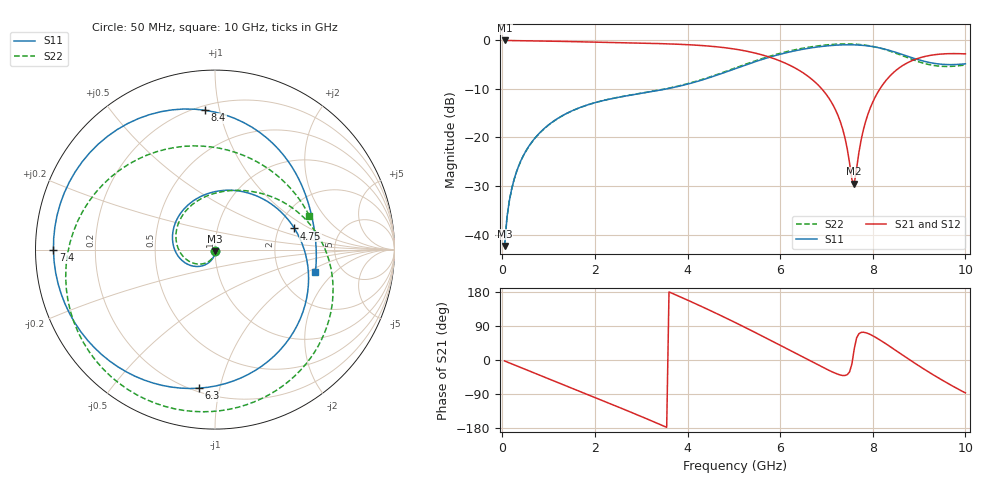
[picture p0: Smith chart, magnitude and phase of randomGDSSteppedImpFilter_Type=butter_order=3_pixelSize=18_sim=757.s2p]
! freq	dB(S11)	phase(S11)	dB(S12)	phase(S12)
!  dB(S21)	phase(S21)	dB(S22)	phase(S22)
!S-par simulation data
#  GHz  S  DB  R 50
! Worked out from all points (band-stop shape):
!   200 points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, 50 MHz to 10 GHz, reference 50 ohm
!   highest |S21| = -0.02 dB at 50 MHz (marker M1); lowest = -29.5 dB at 7.6 GHz (marker M2)
!   |S21| within 3 dB of the highest: start of sweep to 5.62 GHz; 9.29 GHz to end of sweep
!   lowest |S11| = -42.4 dB at 50 MHz (marker M3), VSWR 1.02, Z = 50.1 - j0.757 ohm
!   |S11| at or under -10 dB: start of sweep to 3.545 GHz
!   |S22| runs from -42.4 to -0.7 dB; largest |S21 - S12| = 0
!   S11 on the Smith chart (normalised r, x): 50 MHz: 1.00, -0.02; 4.75 GHz: 2.43, +0.73; 6.3 GHz: 0.22, -0.86; 7.4 GHz: 0.05, -0.00; 8.4 GHz: 0.23, +0.91; 10 GHz: 3.19, -1.20
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0.05  -42.36 -82.1  -0.02 -2.5  -0.02 -2.5  -42.39 -82.5
0.2  -30.70 -96.0  -0.03 -10.0  -0.03 -10.0  -30.74 -97.7
0.5  -22.94 -112.1  -0.07 -24.9  -0.07 -24.9  -22.98 -116.4
1.15  -16.37 -142.6  -0.18 -57.0  -0.18 -57.0  -16.39 -152.4
1.75  -13.58 -170.4  -0.31 -86.6  -0.31 -86.6  -13.59 175.6
2.5  -11.74 153.5  -0.46 -123.8  -0.46 -123.8  -11.72 136.8
3.4  -10.26 104.6  -0.67 -169.8  -0.67 -169.8  -10.20 93.6
4.05  -8.89 63.5  -0.91 155.3  -0.91 155.3  -8.79 65.0
4.75  -6.78 14.9  -1.45 115.5  -1.45 115.5  -6.65 34.3
5.05  -5.76 -6.6  -1.84 97.7  -1.84 97.7  -5.61 20.2
5.65  -3.81 -49.8  -3.10 60.9  -3.10 60.9  -3.63 -10.1
6.3  -2.18 -96.7  -5.57 19.9  -5.57 19.9  -1.98 -45.9
6.7  -1.50 -125.9  -8.13 -5.4  -8.13 -5.4  -1.28 -69.4
7.15  -1.02 -160.0  -13.46 -32.8  -13.46 -32.8  -0.82 -97.7
7.4  -0.91 -179.9  -20.10 -40.9  -20.10 -40.9  -0.73 -114.8
7.6  -0.92 163.6  -29.52 29.3  -29.52 29.3  -0.78 -129.3
7.9  -1.15 137.9  -15.09 69.8  -15.09 69.8  -1.07 -152.7
8.35  -2.04 98.3  -7.55 37.4  -7.55 37.4  -2.15 168.2
8.4  -2.18 94.0  -7.05 33.3  -7.05 33.3  -2.31 163.6
9.1  -4.29 40.2  -3.37 -23.5  -3.37 -23.5  -4.72 96.9
9.55  -4.96 12.6  -2.77 -56.7  -2.77 -56.7  -5.37 55.3
10  -4.83 -12.7  -2.79 -86.9  -2.79 -86.9  -5.06 19.5
